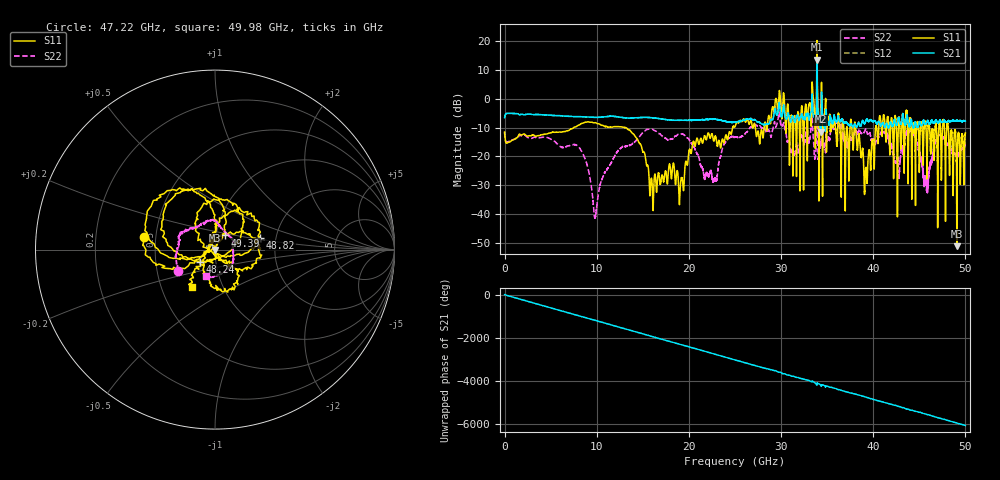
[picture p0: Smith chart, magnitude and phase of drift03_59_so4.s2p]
!Created with skrf (http://scikit-rf.org).
# Hz S RI R 50.0
!freq ReS11 ImS11 ReS21 ImS21 ReS12 ImS12 ReS22 ImS22
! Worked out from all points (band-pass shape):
!   10001 points, 300 kHz to 50 GHz, reference 50 ohm
!   highest |S21| = 13.54 dB at 33.9 GHz (marker M1); lowest = -11.4 dB at 34.32 GHz (marker M2)
!   |S21| within 3 dB of the highest: 33.89035 GHz to 33.90516 GHz (14.82 MHz wide, 0.0437 % of centre)
!   lowest |S11| = -51.1 dB at 49.07 GHz (marker M3), VSWR 1.01, Z = 49.9 - j0.271 ohm
!   |S11| at or under -10 dB: start of sweep to 7.486 GHz; 13.13 GHz to 24.74 GHz (11.61 GHz wide, 61.3 % of centre); 38.09 GHz to 40.25 GHz (2.161 GHz wide, 5.52 % of centre) (the widest 3 of 47)
!   |S22| runs from -41.4 to 6.0 dB; largest |S21 - S12| = 0.36
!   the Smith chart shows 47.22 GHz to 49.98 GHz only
!   S11 on the Smith chart (normalised r, x): 47.22 GHz: 0.43, +0.07; 48.24 GHz: 0.84, -0.12; 48.82 GHz: 1.66, +0.24; 49.39 GHz: 1.11, +0.18; 49.98 GHz: 0.71, -0.31
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300000  -0.2359 -0.1224  0.4652 0.0792  0.4638 0.0813  -0.2315 -0.1266
1.440291e9  0.21 0.0646  -0.5481 -0.0296  -0.5481 -0.0291  0.2115 -0.00423
2.915283e9  -0.2123 -0.0879  0.5348 0.0516  0.5347 0.0516  -0.2021 0.04
4.415274e9  0.2058 0.1323  -0.5214 -0.0423  -0.5219 -0.042  0.1985 -0.0873
8.33525e9  0.2888 -0.2335  0.1461 0.4663  0.1458 0.4663  -0.0724 -0.1015
9.840241e9  -0.3652 0.1252  -0.1433 -0.4539  -0.1432 -0.4538  0.0086 0.00222
1.66702e10  0.027 0.043  -0.3776 0.254  -0.3789 0.2533  -0.1282 -0.2198
2.500015e10  -0.3269 -0.015  -0.2552 -0.2973  -0.2535 -0.2992  -0.212 0.0271
2.895013e10  -0.3227 0.4233  -0.2933 0.3245  -0.305 0.2867  0.0619 0.2204
3.006512e10  0.4019 0.265  0.4512 -0.1971  0.4545 -0.1829  0.1758 -0.2969
3.171011e10  -0.0921 0.1882  -0.3605 0.357  -0.3622 0.3549  0.066 0.1594
3.33351e10  0.627 -0.8379  0.2441 -0.8514  0.2513 -0.833  -0.1941 -0.4267
3.38951e10  -2.77 -9.851  -4.66 0.9328  -4.359 1.125  0.5658 1.91
3.432009e10  -0.7786 -0.000795  -0.1801 0.1996  -0.2421 0.1796  0.142 -0.0753
4.167005e10  -0.207 0.3064  0.3134 0.000839  0.3156 0.00824  -0.1891 -0.00803
4.721502e10  -0.3973 0.0684  0.2835 0.3137  0.2817 0.3114  -0.2047 -0.118
4.824001e10  -0.0851 -0.069  0.1101 -0.397  0.1117 -0.3989  -0.0174 0.1662
4.881501e10  0.2528 0.0664  -0.3528 -0.2233  -0.3519 -0.2183  0.1014 0.0542
4.907001e10  -0.000675 -0.00271  -0.4191 -0.0187  -0.422 -0.0217  0.0971 0.0125
4.939e10  0.0578 0.0791  -0.34 0.2379  -0.3384 0.2389  0.1005 -0.0618
4.998e10  -0.1294 -0.2057  0.1208 0.3938  0.1191 0.3925  -0.0524 -0.1487
5e10  -0.1232 -0.2251  0.1438 0.3847  0.1423 0.3854  -0.053 -0.1462
